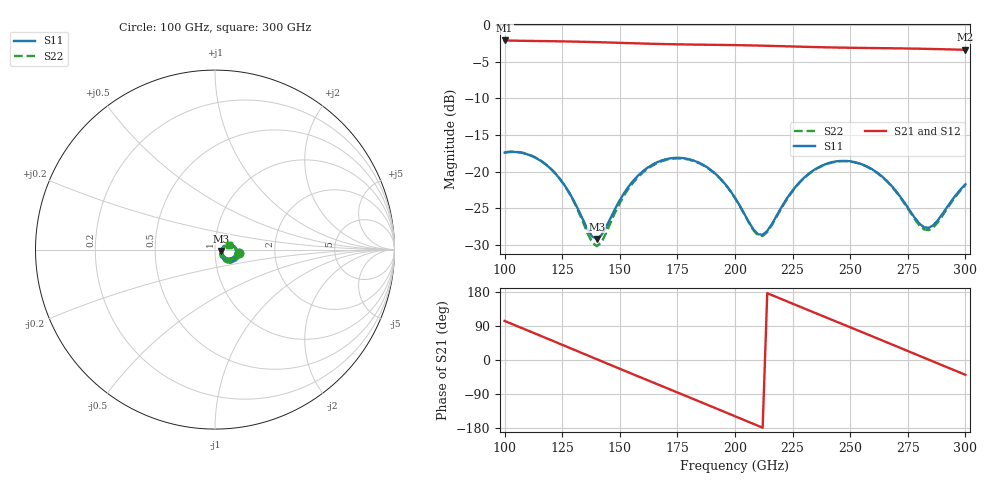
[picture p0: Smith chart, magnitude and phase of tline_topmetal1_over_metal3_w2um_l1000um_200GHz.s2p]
#  GHZ S DB R 50
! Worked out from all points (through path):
!   101 points, 100 GHz to 300 GHz, reference 50 ohm
!   highest |S21| = -2.13 dB at 100 GHz (marker M1); lowest = -3.4 dB at 300 GHz (marker M2)
!   group delay of S21, straight-line fit = 6.97 ps
!   lowest |S11| = -29.2 dB at 140 GHz (marker M3), VSWR 1.07, Z = 53.5 - j0.751 ohm
!   |S11| at or under -10 dB: start of sweep to end of sweep
!   |S22| runs from -30.2 to -17.3 dB; largest |S21 - S12| = 8.8e-14
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100  -17.41 -7.2  -2.13 103.0  -2.13 103.0  -17.37 -8.1
108  -17.48 -21.8  -2.18 83.0  -2.18 83.0  -17.44 -22.9
116  -18.59 -35.6  -2.22 62.9  -2.22 62.9  -18.56 -37.2
126  -21.84 -48.2  -2.26 37.6  -2.26 37.6  -21.87 -50.9
134  -26.53 -43.3  -2.31 17.3  -2.31 17.3  -26.85 -47.7
140  -29.17 -11.6  -2.36 2.1  -2.36 2.1  -30.15 -13.8
152  -22.85 22.0  -2.48 -28.2  -2.48 -28.2  -23.17 24.0
168  -18.49 1.8  -2.62 -68.2  -2.62 -68.2  -18.60 2.7
176  -18.12 -12.0  -2.66 -88.2  -2.66 -88.2  -18.19 -11.4
184  -18.73 -25.6  -2.70 -108.2  -2.70 -108.2  -18.79 -25.2
200  -23.55 -42.8  -2.77 -148.4  -2.77 -148.4  -23.60 -42.9
208  -27.87 -27.3  -2.82 -168.6  -2.82 -168.6  -27.98 -27.7
212  -28.60 -5.8  -2.84 -178.7  -2.84 -178.7  -28.76 -5.9
222  -23.91 22.1  -2.93 156.2  -2.93 156.2  -24.01 22.5
234  -19.83 12.3  -3.03 126.2  -3.03 126.2  -19.88 12.5
242  -18.72 0.1  -3.08 106.2  -3.08 106.2  -18.76 0.1
250  -18.59 -13.0  -3.13 86.3  -3.13 86.3  -18.63 -13.2
258  -19.41 -25.5  -3.16 66.4  -3.16 66.4  -19.45 -25.8
268  -21.95 -36.6  -3.20 41.3  -3.20 41.3  -22.01 -37.2
280  -27.06 -23.4  -3.26 11.1  -3.26 11.1  -27.30 -24.3
284  -27.66 -6.3  -3.28 1.1  -3.28 1.1  -27.96 -6.6
300  -21.71 17.6  -3.41 -39.0  -3.41 -39.0  -21.83 18.2
